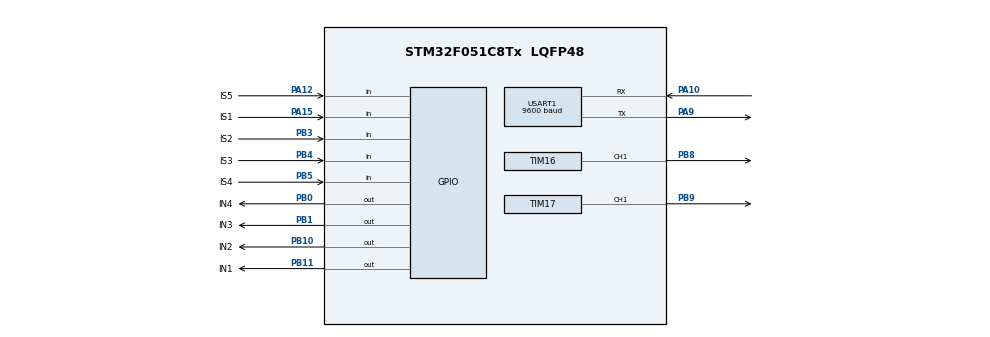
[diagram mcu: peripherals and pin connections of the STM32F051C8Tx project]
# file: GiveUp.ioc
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Mcu.Family=STM32F0
Mcu.Name=STM32F051C8Tx
Mcu.Package=LQFP48
NVIC.TIM6_DAC_IRQn=true\:2\:0\:true\:false\:true\:true\:true
NVIC.USART1_IRQn=true\:1\:0\:true\:false\:true\:true\:true
PA10.Mode=Asynchronous
PA10.Signal=USART1_RX
PA12.GPIO_Label=IS5
PA12.Signal=GPIO_Input
PA13.Mode=Serial_Wire
PA13.Signal=SYS_SWDIO
PA14.Mode=Serial_Wire
PA14.Signal=SYS_SWCLK
PA15.GPIO_Label=IS1
PA15.Signal=GPIO_Input
PA9.Mode=Asynchronous
PA9.Signal=USART1_TX
PB0.GPIO_Label=IN4
PB0.Signal=GPIO_Output
PB1.GPIO_Label=IN3
PB1.Signal=GPIO_Output
PB10.GPIO_Label=IN2
PB10.Signal=GPIO_Output
PB11.GPIO_Label=IN1
PB11.Signal=GPIO_Output
PB3.GPIO_Label=IS2
PB3.Signal=GPIO_Input
PB4.GPIO_Label=IS3
PB4.Signal=GPIO_Input
PB5.GPIO_Label=IS4
PB5.Signal=GPIO_Input
PB8.Signal=S_TIM16_CH1
PB9.Signal=S_TIM17_CH1
ProjectManager.HeapSize=0x200
ProjectManager.StackSize=0x400
ProjectManager.TargetToolchain=STM32CubeIDE
SH.S_TIM16_CH1.0=TIM16_CH1,PWM Generation1 CH1
SH.S_TIM17_CH1.0=TIM17_CH1,PWM Generation1 CH1
TIM16.AutoReloadPreload=TIM_AUTORELOAD_PRELOAD_ENABLE
TIM16.Channel=TIM_CHANNEL_1
TIM16.Period=100-1
TIM16.Prescaler=80-1
TIM17.AutoReloadPreload=TIM_AUTORELOAD_PRELOAD_ENABLE
TIM17.Channel=TIM_CHANNEL_1
TIM17.Period=99
TIM17.Prescaler=80-1
TIM6.Period=100-1
TIM6.Prescaler=800-1
USART1.BaudRate=9600
USART1.VirtualMode-Asynchronous=VM_ASYNC
VP_TIM16_VS_ClockSourceINT.Mode=Enable_Timer
VP_TIM17_VS_ClockSourceINT.Mode=Enable_Timer
VP_TIM6_VS_ClockSourceINT.Mode=Enable_Timer
board=custom

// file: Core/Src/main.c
/* USER CODE BEGIN Header */
/**
  ******************************************************************************
  * @file           : main.c
  * @brief          : Main program body
  ******************************************************************************
  * @attention
  *
  * <h2><center>&copy; Copyright (c) 2019 STMicroelectronics.
  * All rights reserved.</center></h2>
  *
  * This software component is licensed by ST under BSD 3-Clause license,
  * the "License"; You may not use this file except in compliance with the
  * License. You may obtain a copy of the License at:
  *                        opensource.org/licenses/BSD-3-Clause
  *
  ******************************************************************************
  */
/* USER CODE END Header */

#include "main.h"
#include "tim.h"
#include "usart.h"
#include "gpio.h"

/* USER CODE BEGIN Includes */
#include "PID.h"
#include "Read_sensor.h"
#include "string.h"
#include "FB.h"
#include "stdio.h"
/* USER CODE END Includes */

/* USER CODE BEGIN PV */
char Rx_data[1];
/* USER CODE END PV */

void SystemClock_Config(void);

/* USER CODE BEGIN 0 */

PID_parameter PID_set_parameters = {.Kp =5,.Ki=0.1,.Kd=0.001,.Ts = 0.01,.PID_Saturation = 30
                                                                              ,.error =0.0,.pre_error =0.0,.pre2_error=0.0,.Out_left=0,.Out_right=0,.pre_Out_left=0,.pre_Out_right=0};
/* USER CODE END 0 */

int main(void)
{

  /* MCU Configuration--------------------------------------------------------*/

  /* Reset of all peripherals, Initializes the Flash interface and the Systick. */
  HAL_Init();

  /* Configure the system clock */
  SystemClock_Config();

  /* Initialize all configured peripherals */
  MX_GPIO_Init();
  MX_TIM6_Init();
  MX_TIM16_Init();
  MX_TIM17_Init();
  MX_USART1_UART_Init();
  /* USER CODE BEGIN 2 */
  //HAL_TIM_Base_Start_IT(&htim6);
  HAL_TIM_Base_Start(&htim16);
  HAL_TIM_Base_Start(&htim17);
  HAL_UART_Receive_IT(&huart1, &Rx_data, 1);

//  HAL_TIM_Base_Stop_IT(&htim6);
  /* USER CODE END 2 */

  /* Infinite loop */
  while (1)
  {

  }
}

void SystemClock_Config(void)
{
  RCC_OscInitTypeDef RCC_OscInitStruct = {0};
  RCC_ClkInitTypeDef RCC_ClkInitStruct = {0};
  RCC_PeriphCLKInitTypeDef PeriphClkInit = {0};

  /** Initializes the CPU, AHB and APB busses clocks
  */
  RCC_OscInitStruct.OscillatorType = RCC_OSCILLATORTYPE_HSI;
  RCC_OscInitStruct.HSIState = RCC_HSI_ON;
  RCC_OscInitStruct.HSICalibrationValue = RCC_HSICALIBRATION_DEFAULT;
  RCC_OscInitStruct.PLL.PLLState = RCC_PLL_NONE;
  if (HAL_RCC_OscConfig(&RCC_OscInitStruct) != HAL_OK)
  {
    Error_Handler();
  }
  /** Initializes the CPU, AHB and APB busses clocks
  */
  RCC_ClkInitStruct.ClockType = RCC_CLOCKTYPE_HCLK|RCC_CLOCKTYPE_SYSCLK
                              |RCC_CLOCKTYPE_PCLK1;
  RCC_ClkInitStruct.SYSCLKSource = RCC_SYSCLKSOURCE_HSI;
  RCC_ClkInitStruct.AHBCLKDivider = RCC_SYSCLK_DIV1;
  RCC_ClkInitStruct.APB1CLKDivider = RCC_HCLK_DIV1;

  if (HAL_RCC_ClockConfig(&RCC_ClkInitStruct, FLASH_LATENCY_0) != HAL_OK)
  {
    Error_Handler();
  }
  PeriphClkInit.PeriphClockSelection = RCC_PERIPHCLK_USART1;
  PeriphClkInit.Usart1ClockSelection = RCC_USART1CLKSOURCE_PCLK1;
  if (HAL_RCCEx_PeriphCLKConfig(&PeriphClkInit) != HAL_OK)
  {
    Error_Handler();
  }
}

/* USER CODE BEGIN 4 */

void HAL_TIM_PeriodElapsedCallback(TIM_HandleTypeDef *htim)
{
	float error;
	float pre_error = 0;
	if(htim->Instance == htim6.Instance)
	{
		error= read_sensor_values(pre_error);
		PID_PROCESS(&PID_set_parameters, error, 0);
		forward();
		HAL_TIM_PWM_Start(&htim16, TIM_CHANNEL_1);
		HAL_TIM_PWM_Start(&htim17, TIM_CHANNEL_1);

		uint8_t right_value = (uint8_t)(PID_ReadValue_right (&PID_set_parameters))+40;
		uint8_t left_value = (uint8_t)(PID_ReadValue_left (&PID_set_parameters))+40;
		__HAL_TIM_SET_COMPARE(&htim16,TIM_CHANNEL_1,right_value);
		__HAL_TIM_SET_COMPARE(&htim17,TIM_CHANNEL_1,left_value);

		pre_error=error;
	}
}

void HAL_UART_RxCpltCallback(UART_HandleTypeDef *huart)
{
	HAL_GPIO_TogglePin(GPIOB, GPIO_PIN_12);
	if (huart->Instance == USART1)  //current UART
	{
		if(Rx_data[0] == 'f'){
								HAL_TIM_Base_Stop_IT(&htim6);
								forward();
								HAL_TIM_PWM_Start(&htim16, TIM_CHANNEL_1);
								HAL_TIM_PWM_Start(&htim17, TIM_CHANNEL_1);
								__HAL_TIM_SET_COMPARE(&htim16,TIM_CHANNEL_1, 80);
								__HAL_TIM_SET_COMPARE(&htim17,TIM_CHANNEL_1, 80);
							}

		else if(Rx_data[0] == 'b'){
								HAL_TIM_Base_Stop_IT(&htim6);
								backward();
								HAL_TIM_PWM_Start(&htim16, TIM_CHANNEL_1);
								HAL_TIM_PWM_Start(&htim17, TIM_CHANNEL_1);
								__HAL_TIM_SET_COMPARE(&htim16,TIM_CHANNEL_1, 80);
								__HAL_TIM_SET_COMPARE(&htim17,TIM_CHANNEL_1, 80);
							}

		else if(Rx_data[0] == 'l'){
								HAL_TIM_Base_Stop_IT(&htim6);
								forward();
								HAL_TIM_PWM_Start(&htim16, TIM_CHANNEL_1);
								HAL_TIM_PWM_Start(&htim17, TIM_CHANNEL_1);
								__HAL_TIM_SET_COMPARE(&htim16,TIM_CHANNEL_1, 0);
								__HAL_TIM_SET_COMPARE(&htim17,TIM_CHANNEL_1, 80);
							}
		else if(Rx_data[0] == 'r'){
								HAL_TIM_Base_Stop_IT(&htim6);
								forward();
								HAL_TIM_PWM_Start(&htim16, TIM_CHANNEL_1);
								HAL_TIM_PWM_Start(&htim17, TIM_CHANNEL_1);
								__HAL_TIM_SET_COMPARE(&htim16,TIM_CHANNEL_1, 80);
								__HAL_TIM_SET_COMPARE(&htim17,TIM_CHANNEL_1, 0);
							}
		else if(Rx_data[0] == 'i'){
								HAL_TIM_Base_Stop_IT(&htim6);
								__HAL_TIM_SET_COMPARE(&htim16,TIM_CHANNEL_1,0);
								__HAL_TIM_SET_COMPARE(&htim17,TIM_CHANNEL_1,0);
							}

		else if(Rx_data[0] == 'k'){
						HAL_TIM_Base_Start_IT(&htim6);
	    }
		else if(Rx_data[0] == 'd'){
			HAL_TIM_Base_Stop_IT(&htim6);
		}
	 HAL_UART_Receive_IT(&huart1, (uint8_t *) Rx_data, 1);
}
}
/* USER CODE END 4 */

void Error_Handler(void)
{
}

/************************ (C) COPYRIGHT STMicroelectronics *****END OF FILE****/
